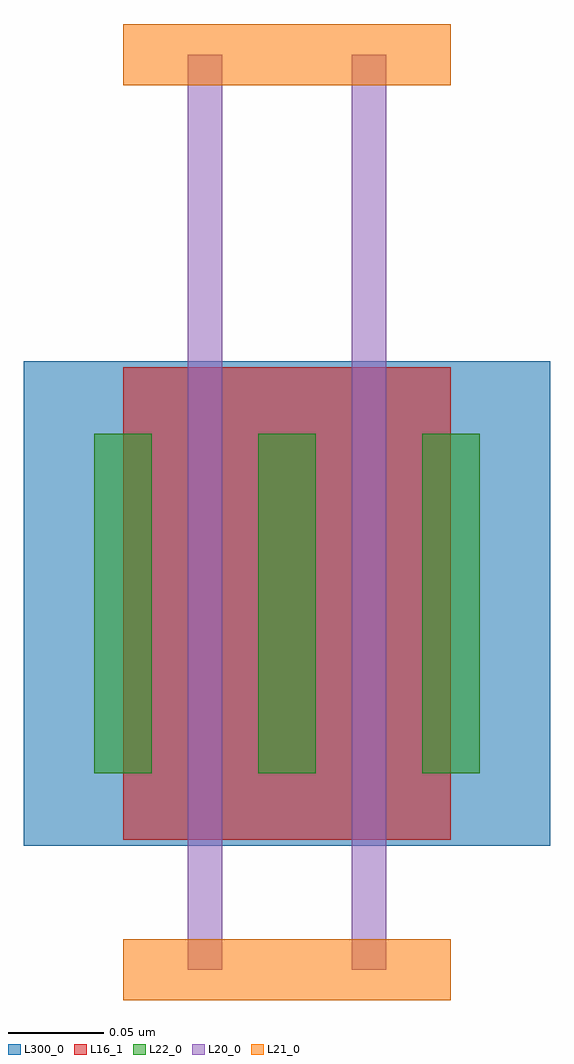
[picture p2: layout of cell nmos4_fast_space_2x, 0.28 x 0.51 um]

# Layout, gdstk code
import gdstk
lib = gdstk.Library(unit=1e-6, precision=5e-10)
def R(c, l, rs):  # rectangles x0, y0, x1, y1
    for r in rs: c.add(gdstk.rectangle(r[:2], r[2:], *l))
L16_1 = (16, 1)
L20_0 = (20, 0)
L21_0 = (21, 0)
L22_0 = (22, 0)
L300_0 = (300, 0)

c__nmos4_fast_space_base_n = lib.new_cell('_nmos4_fast_space_base_nf1')
R(c__nmos4_fast_space_base_n, L16_1, [(0,0.068,0.086,0.316)])
R(c__nmos4_fast_space_base_n, L20_0, [(0.034,0,0.052,0.48)])
R(c__nmos4_fast_space_base_n, L21_0, [(0,-0.016,0.086,0.016), (0,0.464,0.086,0.496)])
R(c__nmos4_fast_space_base_n, L22_0, [(-0.015,0.103,0.015,0.281), (0.071,0.103,0.101,0.281)])
R(c__nmos4_fast_space_base_n, L300_0, [(-0.052,0.065,0.138,0.319)])

nmos4_fast_space_2x = lib.new_cell('nmos4_fast_space_2x')
nmos4_fast_space_2x.add(gdstk.Reference(c__nmos4_fast_space_base_n, (0.086,0)))
nmos4_fast_space_2x.add(gdstk.Reference(c__nmos4_fast_space_base_n, (0,0)))

lib.write_gds('nmos4_fast_space_2x.gds')
